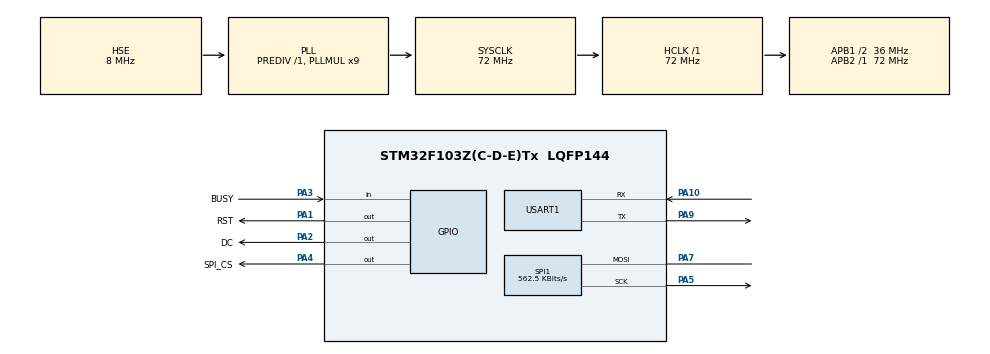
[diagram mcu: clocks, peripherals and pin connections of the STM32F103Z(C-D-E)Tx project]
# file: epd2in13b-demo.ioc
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Mcu.Family=STM32F1
Mcu.Name=STM32F103Z(C-D-E)Tx
Mcu.Package=LQFP144
NVIC.PriorityGroup=NVIC_PRIORITYGROUP_4
OSC_IN.Mode=HSE-External-Oscillator
OSC_IN.Signal=RCC_OSC_IN
OSC_OUT.Mode=HSE-External-Oscillator
OSC_OUT.Signal=RCC_OSC_OUT
PA1.GPIO_Label=RST
PA1.Signal=GPIO_Output
PA10.Mode=Asynchronous
PA10.Signal=USART1_RX
PA2.GPIO_Label=DC
PA2.Signal=GPIO_Output
PA3.GPIO_Label=BUSY
PA3.Signal=GPIO_Input
PA4.GPIO_Label=SPI_CS
PA4.PinState=GPIO_PIN_RESET
PA4.Signal=GPIO_Output
PA5.Mode=Simplex_Bidirectional_Master
PA5.Signal=SPI1_SCK
PA7.Mode=Simplex_Bidirectional_Master
PA7.Signal=SPI1_MOSI
PA9.Mode=Asynchronous
PA9.Signal=USART1_TX
ProjectManager.HeapSize=0x3000
ProjectManager.StackSize=0x1000
ProjectManager.TargetToolchain=MDK-ARM V5
RCC.AHBFreq_Value=72000000
RCC.APB1CLKDivider=RCC_HCLK_DIV2
RCC.APB1Freq_Value=36000000
RCC.APB1TimFreq_Value=72000000
RCC.APB2Freq_Value=72000000
RCC.APB2TimFreq_Value=72000000
RCC.HCLKFreq_Value=72000000
RCC.PLLMUL=RCC_PLL_MUL9
RCC.PLLSourceVirtual=RCC_PLLSOURCE_HSE
RCC.SYSCLKFreq_VALUE=72000000
RCC.SYSCLKSource=RCC_SYSCLKSOURCE_PLLCLK
RCC.USBFreq_Value=72000000
SPI1.BaudRatePrescaler=SPI_BAUDRATEPRESCALER_128
SPI1.CLKPhase=SPI_PHASE_1EDGE
SPI1.CLKPolarity=SPI_POLARITY_LOW
SPI1.CalculateBaudRate=562.5 KBits/s
SPI1.Direction=SPI_DIRECTION_1LINE
SPI1.Mode=SPI_MODE_MASTER
SPI1.VirtualType=VM_MASTER
USART1.VirtualMode=VM_ASYNC
VP_SYS_VS_ND.Mode=No_Debug
board=epd2in13b-demo

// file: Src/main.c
/**
  ******************************************************************************
  * File Name          : main.c
  * Description        : Main program body
  ******************************************************************************
  ** This notice applies to any and all portions of this file
  * that are not between comment pairs USER CODE BEGIN and
  * USER CODE END. Other portions of this file, whether
  * inserted by the user or by software development tools
  * are owned by their respective copyright owners.
  *
  * COPYRIGHT(c) 2017 STMicroelectronics
  *
  * Redistribution and use in source and binary forms, with or without modification,
  * are permitted provided that the following conditions are met:
  *   1. Redistributions of source code must retain the above copyright notice,
  *      this list of conditions and the following disclaimer.
  *   2. Redistributions in binary form must reproduce the above copyright notice,
  *      this list of conditions and the following disclaimer in the documentation
  *      and/or other materials provided with the distribution.
  *   3. Neither the name of STMicroelectronics nor the names of its contributors
  *      may be used to endorse or promote products derived from this software
  *      without specific prior written permission.
  *
  * THIS SOFTWARE IS PROVIDED BY THE COPYRIGHT HOLDERS AND CONTRIBUTORS "AS IS"
  * AND ANY EXPRESS OR IMPLIED WARRANTIES, INCLUDING, BUT NOT LIMITED TO, THE
  * IMPLIED WARRANTIES OF MERCHANTABILITY AND FITNESS FOR A PARTICULAR PURPOSE ARE
  * DISCLAIMED. IN NO EVENT SHALL THE COPYRIGHT HOLDER OR CONTRIBUTORS BE LIABLE
  * FOR ANY DIRECT, INDIRECT, INCIDENTAL, SPECIAL, EXEMPLARY, OR CONSEQUENTIAL
  * DAMAGES (INCLUDING, BUT NOT LIMITED TO, PROCUREMENT OF SUBSTITUTE GOODS OR
  * SERVICES; LOSS OF USE, DATA, OR PROFITS; OR BUSINESS INTERRUPTION) HOWEVER
  * CAUSED AND ON ANY THEORY OF LIABILITY, WHETHER IN CONTRACT, STRICT LIABILITY,
  * OR TORT (INCLUDING NEGLIGENCE OR OTHERWISE) ARISING IN ANY WAY OUT OF THE USE
  * OF THIS SOFTWARE, EVEN IF ADVISED OF THE POSSIBILITY OF SUCH DAMAGE.
  *
  ******************************************************************************
  */
#include "main.h"
#include "stm32f1xx_hal.h"

/* USER CODE BEGIN Includes */
#include "epd2in13b.h"
#include "epdif.h"
#include "epdpaint.h"
#include "imagedata.h"
#include <stdlib.h>
/* USER CODE END Includes */

SPI_HandleTypeDef hspi1;

UART_HandleTypeDef huart1;

/* USER CODE BEGIN PV */
/* Private variables ---------------------------------------------------------*/
#define COLORED      0
#define UNCOLORED    1
/* USER CODE END PV */

void SystemClock_Config(void);
static void MX_GPIO_Init(void);
static void MX_USART1_UART_Init(void);
static void MX_SPI1_Init(void);

/* USER CODE BEGIN PFP */
/* Private function prototypes -----------------------------------------------*/

/* USER CODE END PFP */

int main(void)
{

  /* USER CODE BEGIN 1 */
  /* you have to edit the startup_stm32fxxx.s file and set a big enough heap size */
  unsigned char* frame_black = (unsigned char*)malloc(EPD_WIDTH * EPD_HEIGHT / 8);
  unsigned char* frame_red = (unsigned char*)malloc(EPD_WIDTH * EPD_HEIGHT / 8);
  /* USER CODE END 1 */

  /* MCU Configuration----------------------------------------------------------*/

  /* Reset of all peripherals, Initializes the Flash interface and the Systick. */
  HAL_Init();

  /* Configure the system clock */
  SystemClock_Config();

  /* Initialize all configured peripherals */
  MX_GPIO_Init();
  MX_USART1_UART_Init();
  MX_SPI1_Init();

  /* USER CODE BEGIN 2 */
  EPD epd;
  if (EPD_Init(&epd) != 0) {
    printf("e-Paper init failed\n");
    return -1;
  }

  Paint paint_black;
  Paint_Init(&paint_black, frame_black, epd.width, epd.height);
  Paint_Clear(&paint_black, UNCOLORED);
  Paint paint_red;
  Paint_Init(&paint_red, frame_red, epd.width, epd.height);
  Paint_Clear(&paint_red, UNCOLORED);

  /* Draw something to the frame buffer */
  /* For simplicity, the arguments are explicit numerical coordinates */
  Paint_SetRotate(&paint_black, ROTATE_0);
  Paint_SetRotate(&paint_red, ROTATE_0);
  Paint_DrawRectangle(&paint_black, 10, 60, 50, 100, COLORED);
  Paint_DrawLine(&paint_black, 10, 60, 50, 100, COLORED);
  Paint_DrawLine(&paint_black, 50, 60, 10, 100, COLORED);
  Paint_DrawCircle(&paint_black, 80, 80, 15, COLORED);
  Paint_DrawFilledRectangle(&paint_red, 10, 120, 50, 180, COLORED);
  Paint_DrawFilledRectangle(&paint_red, 0, 6, 128, 26, COLORED);
  Paint_DrawFilledCircle(&paint_red, 80, 150, 15, COLORED);

  /*Write strings to the buffer */
  Paint_DrawStringAt(&paint_black, 4, 30, "e-Paper Demo", &Font12, COLORED);
  Paint_DrawStringAt(&paint_red, 6, 10, "Hello world!", &Font12, UNCOLORED);

  /* Display the frame_buffer */
  EPD_DisplayFrame(&epd, frame_black, frame_red);

  /* Display the image buffer */
  EPD_DisplayFrame(&epd, IMAGE_BLACK, IMAGE_RED);

  /* USER CODE END 2 */

  /* Infinite loop */
  while (1)
  {

  }

}

/** System Clock Configuration
*/
void SystemClock_Config(void)
{

  RCC_OscInitTypeDef RCC_OscInitStruct;
  RCC_ClkInitTypeDef RCC_ClkInitStruct;

    /**Initializes the CPU, AHB and APB busses clocks
    */
  RCC_OscInitStruct.OscillatorType = RCC_OSCILLATORTYPE_HSE;
  RCC_OscInitStruct.HSEState = RCC_HSE_ON;
  RCC_OscInitStruct.HSEPredivValue = RCC_HSE_PREDIV_DIV1;
  RCC_OscInitStruct.HSIState = RCC_HSI_ON;
  RCC_OscInitStruct.PLL.PLLState = RCC_PLL_ON;
  RCC_OscInitStruct.PLL.PLLSource = RCC_PLLSOURCE_HSE;
  RCC_OscInitStruct.PLL.PLLMUL = RCC_PLL_MUL9;
  if (HAL_RCC_OscConfig(&RCC_OscInitStruct) != HAL_OK)
  {
    _Error_Handler(__FILE__, __LINE__);
  }

    /**Initializes the CPU, AHB and APB busses clocks
    */
  RCC_ClkInitStruct.ClockType = RCC_CLOCKTYPE_HCLK|RCC_CLOCKTYPE_SYSCLK
                              |RCC_CLOCKTYPE_PCLK1|RCC_CLOCKTYPE_PCLK2;
  RCC_ClkInitStruct.SYSCLKSource = RCC_SYSCLKSOURCE_PLLCLK;
  RCC_ClkInitStruct.AHBCLKDivider = RCC_SYSCLK_DIV1;
  RCC_ClkInitStruct.APB1CLKDivider = RCC_HCLK_DIV2;
  RCC_ClkInitStruct.APB2CLKDivider = RCC_HCLK_DIV1;

  if (HAL_RCC_ClockConfig(&RCC_ClkInitStruct, FLASH_LATENCY_2) != HAL_OK)
  {
    _Error_Handler(__FILE__, __LINE__);
  }

    /**Configure the Systick interrupt time
    */
  HAL_SYSTICK_Config(HAL_RCC_GetHCLKFreq()/1000);

    /**Configure the Systick
    */
  HAL_SYSTICK_CLKSourceConfig(SYSTICK_CLKSOURCE_HCLK);

  /* SysTick_IRQn interrupt configuration */
  HAL_NVIC_SetPriority(SysTick_IRQn, 0, 0);
}

/* SPI1 init function */
static void MX_SPI1_Init(void)
{

  hspi1.Instance = SPI1;
  hspi1.Init.Mode = SPI_MODE_MASTER;
  hspi1.Init.Direction = SPI_DIRECTION_1LINE;
  hspi1.Init.DataSize = SPI_DATASIZE_8BIT;
  hspi1.Init.CLKPolarity = SPI_POLARITY_LOW;
  hspi1.Init.CLKPhase = SPI_PHASE_1EDGE;
  hspi1.Init.NSS = SPI_NSS_SOFT;
  hspi1.Init.BaudRatePrescaler = SPI_BAUDRATEPRESCALER_128;
  hspi1.Init.FirstBit = SPI_FIRSTBIT_MSB;
  hspi1.Init.TIMode = SPI_TIMODE_DISABLE;
  hspi1.Init.CRCCalculation = SPI_CRCCALCULATION_DISABLE;
  hspi1.Init.CRCPolynomial = 10;
  if (HAL_SPI_Init(&hspi1) != HAL_OK)
  {
    _Error_Handler(__FILE__, __LINE__);
  }

}

/* USART1 init function */
static void MX_USART1_UART_Init(void)
{

  huart1.Instance = USART1;
  huart1.Init.BaudRate = 115200;
  huart1.Init.WordLength = UART_WORDLENGTH_8B;
  huart1.Init.StopBits = UART_STOPBITS_1;
  huart1.Init.Parity = UART_PARITY_NONE;
  huart1.Init.Mode = UART_MODE_TX_RX;
  huart1.Init.HwFlowCtl = UART_HWCONTROL_NONE;
  huart1.Init.OverSampling = UART_OVERSAMPLING_16;
  if (HAL_UART_Init(&huart1) != HAL_OK)
  {
    _Error_Handler(__FILE__, __LINE__);
  }

}

/** Configure pins as
        * Analog
        * Input
        * Output
        * EVENT_OUT
        * EXTI
*/
static void MX_GPIO_Init(void)
{

  GPIO_InitTypeDef GPIO_InitStruct;

  /* GPIO Ports Clock Enable */
  __HAL_RCC_GPIOA_CLK_ENABLE();

  /*Configure GPIO pin Output Level */
  HAL_GPIO_WritePin(GPIOA, RST_Pin|DC_Pin|SPI_CS_Pin, GPIO_PIN_RESET);

  /*Configure GPIO pins : RST_Pin DC_Pin SPI_CS_Pin */
  GPIO_InitStruct.Pin = RST_Pin|DC_Pin|SPI_CS_Pin;
  GPIO_InitStruct.Mode = GPIO_MODE_OUTPUT_PP;
  GPIO_InitStruct.Speed = GPIO_SPEED_FREQ_LOW;
  HAL_GPIO_Init(GPIOA, &GPIO_InitStruct);

  /*Configure GPIO pin : BUSY_Pin */
  GPIO_InitStruct.Pin = BUSY_Pin;
  GPIO_InitStruct.Mode = GPIO_MODE_INPUT;
  GPIO_InitStruct.Pull = GPIO_NOPULL;
  HAL_GPIO_Init(BUSY_GPIO_Port, &GPIO_InitStruct);

}

/* USER CODE BEGIN 4 */
#ifdef __GNUC__
  /* With GCC/RAISONANCE, small printf (option LD Linker->Libraries->Small printf
     set to 'Yes') calls __io_putchar() */
  #define PUTCHAR_PROTOTYPE int __io_putchar(int ch)
#else
  #define PUTCHAR_PROTOTYPE int fputc(int ch, FILE *f)
#endif /* __GNUC__ */
/**
  * @brief  Retargets the C library printf function to the USART.
  * @param  None
  * @retval None
  */
PUTCHAR_PROTOTYPE
{
  /* Place your implementation of fputc here */
  /* e.g. write a character to the EVAL_COM1 and Loop until the end of transmission */
  HAL_UART_Transmit(&huart1, (uint8_t *)&ch, 1, 0xFFFF);

  return ch;
}
/* USER CODE END 4 */

void _Error_Handler(char * file, int line)
{
  while(1)
  {
  }
}

/************************ (C) COPYRIGHT STMicroelectronics *****END OF FILE****/
